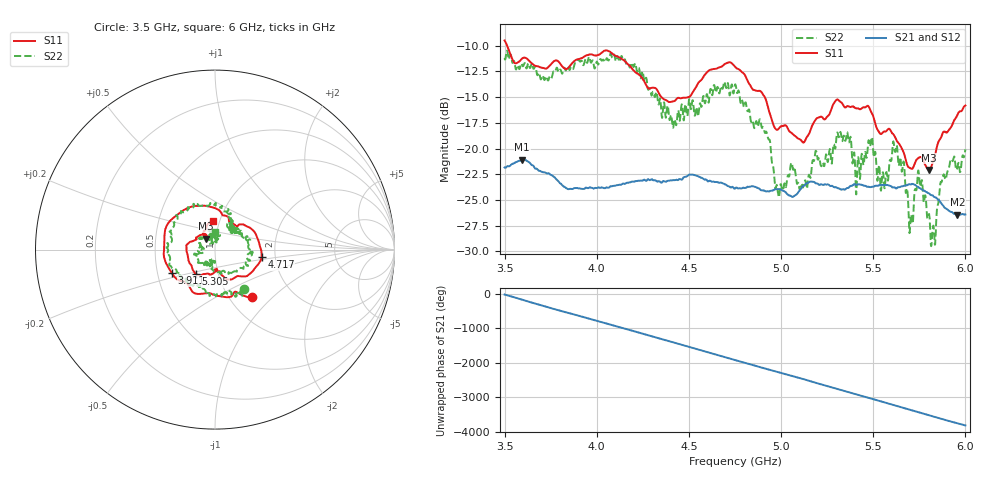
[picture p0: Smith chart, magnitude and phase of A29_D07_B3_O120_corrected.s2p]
! Created with skrf 1.9.0 (http://scikit-rf.org).
# Hz S RI R 50.0
!freq ReS11 ImS11 ReS21 ImS21 ReS12 ImS12 ReS22 ImS22
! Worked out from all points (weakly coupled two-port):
!   1601 points, 3.5 GHz to 6 GHz, reference 50 ohm
!   highest |S21| = -21.07 dB at 3.595 GHz (marker M1); lowest = -26.4 dB at 5.956 GHz (marker M2)
!   lowest |S11| = -22.1 dB at 5.803 GHz (marker M3), VSWR 1.17, Z = 45 + j5.54 ohm
!   |S11| at or under -10 dB: 3.514 GHz to end of sweep
!   |S22| runs from -29.5 to -10.5 dB; largest |S21 - S12| = 0.00098
!   S11 on the Smith chart (normalised r, x): 3.5 GHz: 1.26, -0.76; 3.911 GHz: 0.59, -0.17; 4.717 GHz: 1.69, -0.16; 5.305 GHz: 0.78, -0.22; 6 GHz: 0.93, +0.31
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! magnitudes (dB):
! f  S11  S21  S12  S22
! 3.5 GHz  -9.5  -21.8  -21.8  -11.2
! 3.595 GHz  -11.2  -21.1  -21.1  -11.9
! 3.911 GHz  -11.2  -23.9  -23.9  -11.5
! 3.917 GHz  -11.2  -23.9  -23.9  -11.5
! 4.142 GHz  -11.4  -23.4  -23.4  -11.4
! 4.334 GHz  -14.5  -23.2  -23.1  -15.7
! 4.422 GHz  -15.4  -23.1  -23.1  -17.2
! 4.717 GHz  -11.6  -23.7  -23.7  -14.4
! 4.75 GHz  -12.0  -23.9  -23.8  -13.8
! 4.928 GHz  -15.9  -24.1  -24.1  -18.9
! 4.98 GHz  -18.2  -24.0  -23.9  -23.8
! 5.167 GHz  -17.8  -23.2  -23.2  -21.6
! 5.305 GHz  -15.2  -23.8  -23.8  -18.4
! 5.416 GHz  -16.1  -23.5  -23.5  -21.2
! 5.484 GHz  -16.3  -23.7  -23.7  -19.7
! 5.584 GHz  -18.1  -23.6  -23.6  -22.2
! 5.62 GHz  -19.0  -23.8  -23.8  -20.3
! 5.705 GHz  -21.9  -23.5  -23.4  -26.5
! 5.753 GHz  -20.8  -23.8  -23.8  -23.5
! 5.803 GHz  -22.1  -24.4  -24.3  -26.4
! 5.956 GHz  -16.7  -26.4  -26.4  -21.8
! 6 GHz  -15.8  -26.4  -26.4  -20.1
